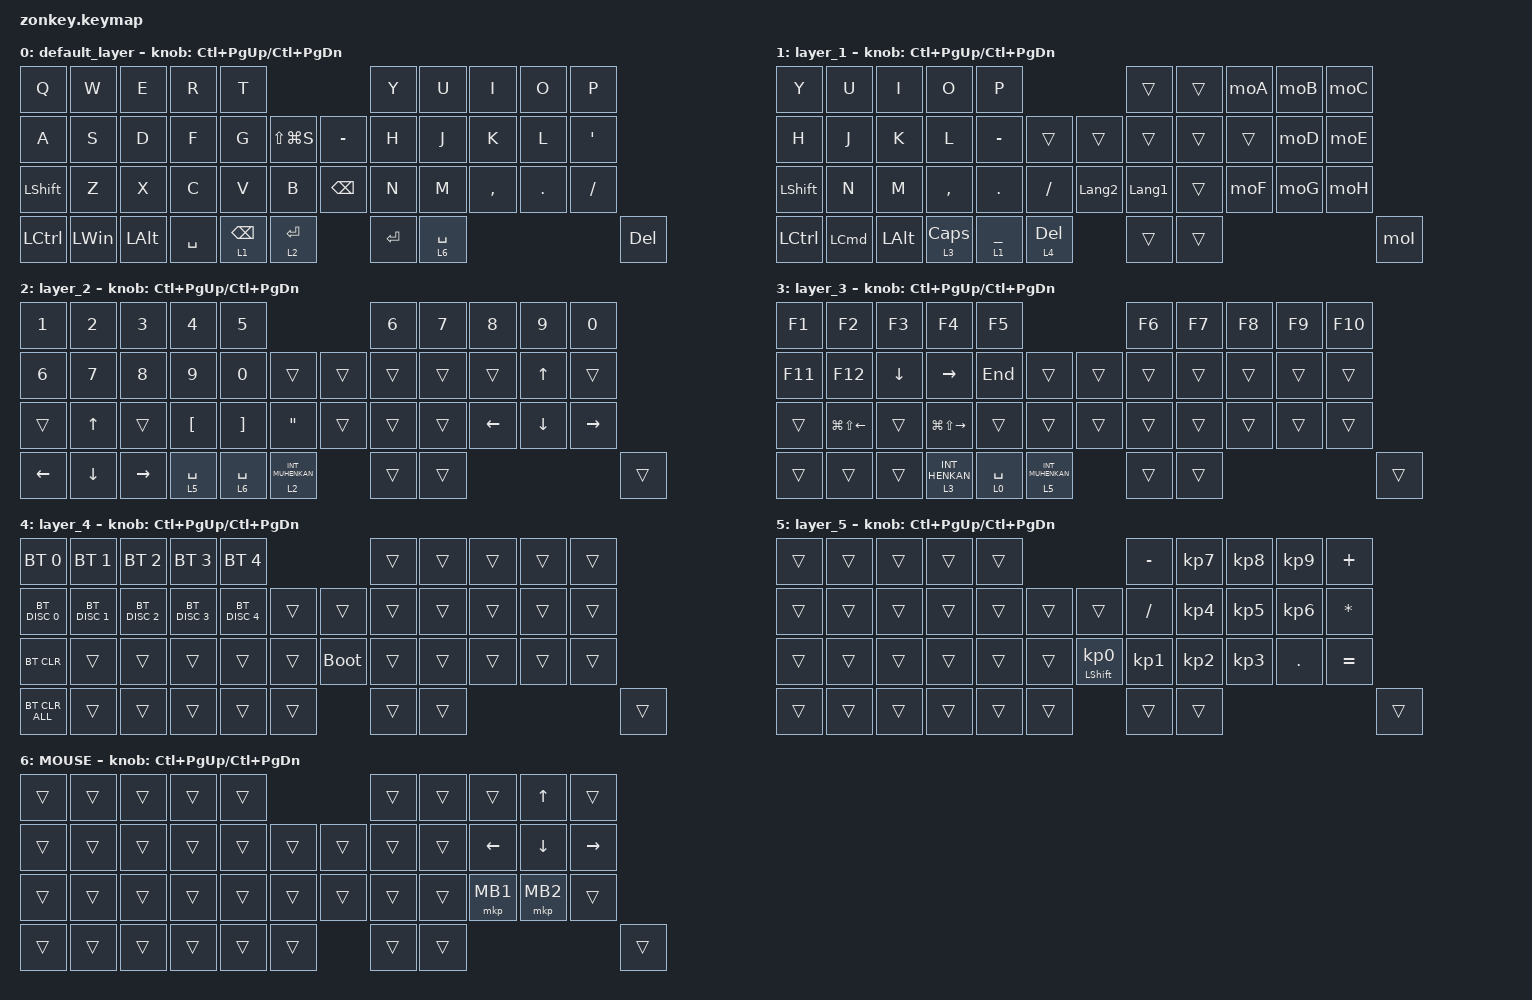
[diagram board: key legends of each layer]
#include <physical_layouts.dtsi>
#include <behaviors.dtsi>
#include <dt-bindings/zmk/bt.h>
#include <dt-bindings/zmk/keys.h>
#include <dt-bindings/zmk/pointing.h>

#define ZMK_POINTING_DEFAULT_SCRL_VAL 100
#define DFb 0
#define JIS 1
#define BT 4
#define MOUSE 6
#define JP_DQUOTE       AT                // "
#define JP_AMPERSAND    CARET             // &
#define JP_QUOTE        AMPERSAND         // '
#define JP_EQUAL        UNDER             // =
#define JP_CARET        EQUAL             // ^
#define JP_YEN          0x89              // ¥
#define JP_PLUS         COLON             // +
#define JP_TILDE        PLUS              // ~
#define JP_PIPE         LS(0x89)          // |
#define JP_AT           LEFT_BRACKET      // @
#define JP_COLON        SINGLE_QUOTE      // :
#define JP_ASTERISK     DOUBLE_QUOTES     // *
#define JP_BACKQUOTE    LEFT_BRACE        // `
#define JP_UNDERSCORE   LS(0x87)          // _
#define JP_LBRACKET     RIGHT_BRACKET     // [
#define JP_RBRACKET     BACKSLASH         // ]
#define JP_LPAREN       ASTERISK          // (
#define JP_RPAREN       LEFT_PARENTHESIS  // )
#define JP_LBRACE       RIGHT_BRACE       // {
#define JP_RBRACE       PIPE              // }
#define JP_KANA         LANGUAGE_1        // かな
#define JP_EISU         LANGUAGE_2        // 英数
#define JP_HANZEN       GRAVE             // 半角/全角
#define JP_BSLH  INT1         // (backslash)

&mt {
    flavor = "balanced";
    quick-tap-ms = <0>;
};

/ {
    combos { compatible = "zmk,combos"; };

    macros {
        to_layer_0: to_layer_0 {
            compatible = "zmk,behavior-macro-one-param";
            #binding-cells = <1>;
            bindings = <&to 0 &macro_param_1to1 &kp MACRO_PLACEHOLDER>;
            label = "TO_LAYER_0";
        };
    };

    behaviors {
        lt_to_layer_0: lt_to_layer_0 {
            compatible = "zmk,behavior-hold-tap";
            label = "LAYER_TAP_TO_0";
            bindings = <&mo>, <&to_layer_0>;

            #binding-cells = <2>;
            tapping-term-ms = <200>;
        };

        mo2: mo2 {
            compatible = "zmk,behavior-mod-morph";
            #binding-cells = <0>;
            bindings = <&kp N2>, <&kp AT>;

            mods = <(MOD_LSFT|MOD_RSFT)>;
        };

        mo6: mo6 {
            compatible = "zmk,behavior-mod-morph";
            #binding-cells = <0>;
            bindings = <&kp N6>, <&kp CARET>;

            mods = <(MOD_LSFT|MOD_RSFT)>;
        };

        mo7: mo7 {
            compatible = "zmk,behavior-mod-morph";
            #binding-cells = <0>;
            bindings = <&kp N7>, <&kp AMPS>;

            mods = <(MOD_LSFT|MOD_RSFT)>;
        };

        mo8: mo8 {
            compatible = "zmk,behavior-mod-morph";
            #binding-cells = <0>;
            bindings = <&kp N8>, <&kp ASTRK>;

            mods = <(MOD_LSFT|MOD_RSFT)>;
        };

        mo9: mo9 {
            compatible = "zmk,behavior-mod-morph";
            #binding-cells = <0>;
            bindings = <&kp N9>, <&kp LPAR>;

            mods = <(MOD_LSFT|MOD_RSFT)>;
        };

        mo0: mo0 {
            compatible = "zmk,behavior-mod-morph";
            #binding-cells = <0>;
            bindings = <&kp N0>, <&kp LS(N9)>;

            mods = <(MOD_LSFT|MOD_RSFT)>;
        };

        moA: moA {
            compatible = "zmk,behavior-mod-morph";
            #binding-cells = <0>;
            bindings = <&kp MINUS>, <&kp UNDERSCORE>;

            mods = <(MOD_LSFT|MOD_RSFT)>;
        };

        moB: moB {
            compatible = "zmk,behavior-mod-morph";
            #binding-cells = <0>;
            bindings = <&kp EQUAL>, <&kp PLUS>;

            mods = <(MOD_LSFT|MOD_RSFT)>;
        };

        moC: moC {
            compatible = "zmk,behavior-mod-morph";
            #binding-cells = <0>;
            bindings = <&kp INT3>, <&kp JP_PIPE>;

            mods = <(MOD_LSFT|MOD_RSFT)>;
        };

        moD: moD {
            compatible = "zmk,behavior-mod-morph";
            #binding-cells = <0>;
            bindings = <&kp LBKT>, <&kp LBRC>;

            mods = <(MOD_LSFT|MOD_RSFT)>;
        };

        moE: moE {
            compatible = "zmk,behavior-mod-morph";
            #binding-cells = <0>;
            bindings = <&kp RBKT>, <&kp RBRC>;

            mods = <(MOD_LSFT|MOD_RSFT)>;
        };

        moF: moF {
            compatible = "zmk,behavior-mod-morph";
            #binding-cells = <0>;
            bindings = <&kp SEMI>, <&kp KP_PLUS>;

            mods = <(MOD_LSFT|MOD_RSFT)>;
        };

        moG: moG {
            compatible = "zmk,behavior-mod-morph";
            #binding-cells = <0>;
            bindings = <&kp APOSTROPHE>, <&kp DQT>;

            mods = <(MOD_LSFT|MOD_RSFT)>;
        };

        moH: moH {
            compatible = "zmk,behavior-mod-morph";
            #binding-cells = <0>;
            bindings = <&kp BACKSLASH>, <&kp TILDE2>;

            mods = <(MOD_LSFT|MOD_RSFT)>;
        };

        moI: moI {
            compatible = "zmk,behavior-mod-morph";
            #binding-cells = <0>;
            bindings = <&kp JP_BSLH>, <&kp JP_UNDERSCORE>;

            mods = <(MOD_LSFT|MOD_RSFT)>;
        };

        scroll_up_down: behavior_sensor_rotate_mouse_wheel_up_down {
            compatible = "zmk,behavior-sensor-rotate";
            #sensor-binding-cells = <0>;
            bindings = <&msc SCRL_UP>, <&msc SCRL_DOWN>;

            tap-ms = <20>;
        };
    };

    keymap {
        compatible = "zmk,keymap";

        default_layer {
            bindings = <
&kp Q           &kp W         &kp E         &kp R      &kp T                                            &kp Y      &kp U        &kp I      &kp O    &kp P
&kp A           &kp S         &kp D         &kp F      &kp G            &kp LS(LG(S))    &kp MINUS      &kp H      &kp J        &kp K      &kp L    &kp SQT
&kp LEFT_SHIFT  &kp Z         &kp X         &kp C      &kp V            &kp B            &kp BACKSPACE  &kp N      &kp M        &kp COMMA  &kp DOT  &kp SLASH
&kp LCTRL       &kp LEFT_WIN  &kp LEFT_ALT  &kp SPACE  &lt 1 BACKSPACE  &lt 2 ENTER                     &kp ENTER  &lt 6 SPACE                                 &kp DELETE
            >;

            sensor-bindings = <&inc_dec_kp LC(PAGE_UP) LC(PAGE_DOWN)>;
        };

        layer_1 {
            bindings = <
&kp Y           &kp U             &kp I         &kp O       &kp P                                          &trans       &trans  &moA    &moB  &moC
&kp H           &kp J             &kp K         &kp L       &kp MINUS         &trans          &trans       &trans       &trans  &trans  &moD  &moE
&kp LEFT_SHIFT  &kp N             &kp M         &kp COMMA   &kp PERIOD        &kp SLASH       &kp JP_EISU  &kp JP_KANA  &trans  &moF    &moG  &moH
&kp LCTRL       &kp LEFT_COMMAND  &kp LEFT_ALT  &lt 3 CAPS  &lt 1 UNDERSCORE  &lt 4 DELETE                 &trans       &trans                      &moI
            >;

            sensor-bindings = <&inc_dec_kp LC(PAGE_UP) LC(PAGE_DOWN)>;
        };

        layer_2 {
            bindings = <
&kp N1        &kp NUMBER_2  &kp N3        &kp N4            &kp N5                                           &kp NUMBER_6  &kp N7  &kp N8    &kp N9        &kp N0
&kp NUMBER_6  &kp NUMBER_7  &kp NUMBER_8  &kp NUMBER_9      &kp NUMBER_0       &trans                &trans  &trans        &trans  &trans    &kp UP_ARROW  &trans
&trans        &kp UP        &trans        &kp LEFT_BRACKET  &kp RIGHT_BRACKET  &kp DOUBLE_QUOTES     &trans  &trans        &trans  &kp LEFT  &kp DOWN      &kp RIGHT
&kp LEFT      &kp DOWN      &kp RIGHT     &lt 5 SPACE       &lt 6 SPACE        &lt 2 INT_MUHENKAN            &trans        &trans                                     &trans
            >;

            sensor-bindings = <&inc_dec_kp LC(PAGE_UP) LC(PAGE_DOWN)>;
        };

        layer_3 {
            bindings = <
&kp F1   &kp F2                  &kp F3          &kp F4                   &kp F5                                     &kp F6  &kp F7  &kp F8  &kp F9  &kp F10
&kp F11  &kp F12                 &kp DOWN_ARROW  &kp RIGHT_ARROW          &kp END      &trans                &trans  &trans  &trans  &trans  &trans  &trans
&trans   &kp LG(LS(LEFT_ARROW))  &trans          &kp LG(LS(RIGHT_ARROW))  &trans       &trans                &trans  &trans  &trans  &trans  &trans  &trans
&trans   &trans                  &trans          &lt 3 INT_HENKAN         &lt 0 SPACE  &lt 5 INT_MUHENKAN            &trans  &trans                           &trans
            >;

            sensor-bindings = <&inc_dec_kp LC(PAGE_UP) LC(PAGE_DOWN)>;
        };

        layer_4 {
            bindings = <
&bt BT_SEL 0    &bt BT_SEL 1   &bt BT_SEL 2   &bt BT_SEL 3   &bt BT_SEL 4                          &trans  &trans  &trans  &trans  &trans
&bt BT_DISC 0   &bt BT_DISC 1  &bt BT_DISC 2  &bt BT_DISC 3  &bt BT_DISC 4  &trans    &trans       &trans  &trans  &trans  &trans  &trans
&bt BT_CLR      &trans         &trans         &trans         &trans         &trans    &bootloader  &trans  &trans  &trans  &trans  &trans
&bt BT_CLR_ALL  &trans         &trans         &trans         &trans         &trans                 &trans  &trans                          &trans
            >;

            sensor-bindings = <&inc_dec_kp LC(PAGE_UP) LC(PAGE_DOWN)>;
        };

        layer_5 {
            bindings = <
&trans  &trans  &trans  &trans  &trans                                        &kp MINUS        &kp KP_NUMBER_7  &kp KP_NUMBER_8  &kp KP_NUMBER_9  &kp PLUS
&trans  &trans  &trans  &trans  &trans  &trans    &trans                      &kp SLASH        &kp KP_NUMBER_4  &kp KP_NUMBER_5  &kp KP_NUMBER_6  &kp ASTERISK
&trans  &trans  &trans  &trans  &trans  &trans    &mt LEFT_SHIFT KP_NUMBER_0  &kp KP_NUMBER_1  &kp KP_NUMBER_2  &kp KP_NUMBER_3  &kp PERIOD       &kp EQUAL
&trans  &trans  &trans  &trans  &trans  &trans                                &trans           &trans                                                           &trans
            >;

            sensor-bindings = <&inc_dec_kp LC(PAGE_UP) LC(PAGE_DOWN)>;
        };

        MOUSE {
            bindings = <
&trans  &trans  &trans  &trans  &trans                    &trans  &trans  &trans    &kp UP_ARROW  &trans
&trans  &trans  &trans  &trans  &trans  &trans    &trans  &trans  &trans  &kp LEFT  &kp DOWN      &kp RIGHT
&trans  &trans  &trans  &trans  &trans  &trans    &trans  &trans  &trans  &mkp MB1  &mkp MB2      &trans
&trans  &trans  &trans  &trans  &trans  &trans            &trans  &trans                                     &trans
            >;

            sensor-bindings = <&inc_dec_kp LC(PAGE_UP) LC(PAGE_DOWN)>;
        };
    };
};
